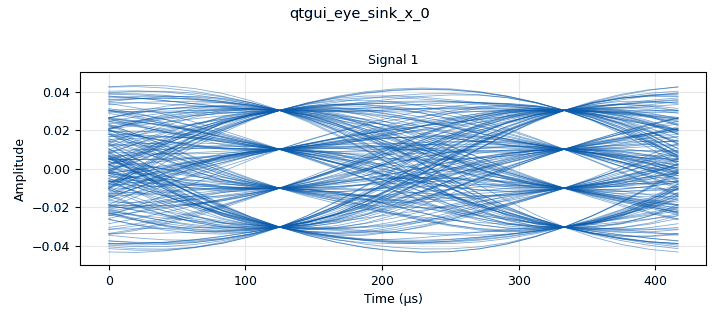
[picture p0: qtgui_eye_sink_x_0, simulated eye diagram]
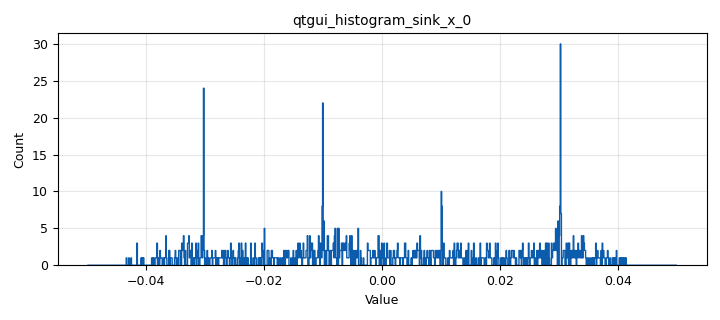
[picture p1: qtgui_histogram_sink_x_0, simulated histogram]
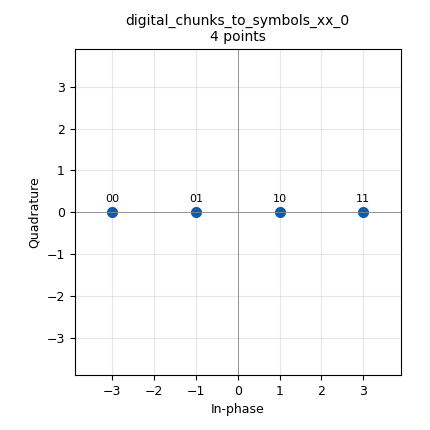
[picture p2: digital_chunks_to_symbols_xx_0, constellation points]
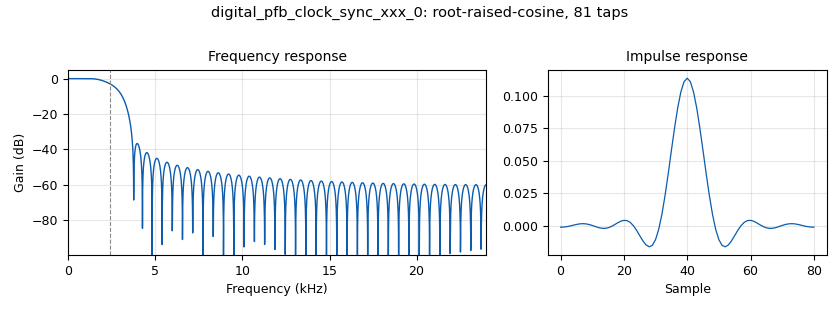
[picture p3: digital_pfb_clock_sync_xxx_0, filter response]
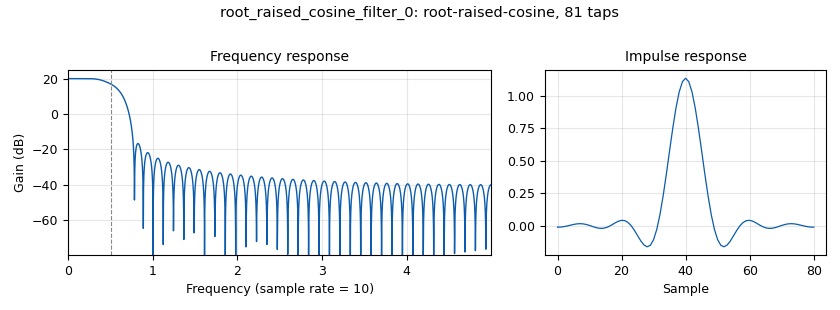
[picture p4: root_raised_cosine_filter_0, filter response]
options:
  parameters:
    author: pthrr, sp5wwp
    generate_options: qt_gui
    id: m17_channel
    output_language: python
    title: Not titled yet
  states: {}

blocks:
- name: carrier_freq
  id: variable
  parameters:
    value: '44000'
  states: {}
- name: fsk_deviation
  id: variable
  parameters:
    value: '800'
  states: {}
- name: pi
  id: variable
  parameters:
    value: '3.141592653589793238462643383279502884197 '
  states: {}
- name: rrc_length
  id: variable
  parameters:
    value: '8'
  states: {}
- name: rrc_taps
  id: variable_rrc_filter_taps
  parameters:
    alpha: '0.5'
    gain: '1.0'
    ntaps: rrc_length*10+1
    samp_rate: symbol_rate*10
    sym_rate: symbol_rate
  states: {}
- name: symbol_rate
  id: variable
  parameters:
    value: '4800'
  states: {}
- name: analog_frequency_modulator_fc_0
  id: analog_frequency_modulator_fc
  parameters:
    sensitivity: (fsk_deviation*2.0*pi)/(symbol_rate*10.0)
  states: {}
- name: analog_quadrature_demod_cf_0
  id: analog_quadrature_demod_cf
  parameters:
    gain: (symbol_rate*10.0)/(2.0*pi*fsk_deviation)
  states: {}
- name: analog_random_source_x_0
  id: analog_random_source_x
  parameters:
    max: '4'
    min: '0'
    num_samps: '65536'
    repeat: 'True'
    type: byte
  states: {}
- name: blocks_add_const_vxx_1
  id: blocks_add_const_vxx
  parameters:
    const: '-0.1'
    type: float
  states: {}
- name: blocks_null_sink_0
  id: blocks_null_sink
  parameters:
    type: float
  states: {}
- name: blocks_null_sink_0_0
  id: blocks_null_sink
  parameters:
    type: float
  states: {}
- name: blocks_sample_and_hold_xx_0
  id: blocks_sample_and_hold_xx
  parameters:
    type: float
  states: {}
- name: channels_channel_model_0
  id: channels_channel_model
  parameters:
    epsilon: '1.0'
    freq_offset: '0.0'
    noise_voltage: '0.0'
    seed: '0'
    taps: 1.0 + 1.0j
  states: {state: bypassed}
- name: digital_binary_slicer_fb_0
  id: digital_binary_slicer_fb
  parameters: {}
  states: {}
- name: digital_chunks_to_symbols_xx_0
  id: digital_chunks_to_symbols_xx
  parameters:
    dimension: '1'
    in_type: byte
    out_type: float
    symbol_table: '[-3, -1, 1, 3]'
  states: {}
- name: digital_pfb_clock_sync_xxx_0
  id: digital_pfb_clock_sync_xxx
  parameters:
    filter_size: rrc_length*10+1
    init_phase: '0'
    loop_bw: 2.0*pi/100.0
    max_dev: '1.5'
    osps: '10'
    sps: '10'
    taps: rrc_taps
    type: fff
  states: {}
- name: qtgui_eye_sink_x_0
  id: qtgui_eye_sink_x
  parameters:
    samp_per_symbol: '10'
    size: '4096'
    srate: symbol_rate*10
    type: float
    ymax: '0.05'
    ymin: '-0.05'
  states: {}
- name: qtgui_histogram_sink_x_0
  id: qtgui_histogram_sink_x
  parameters:
    accum: 'True'
    bins: '1000'
    size: '1024'
    type: float
    xmax: '0.05'
    xmin: '-0.05'
  states: {}
- name: qtgui_time_sink_x_0
  id: qtgui_time_sink_x
  parameters:
    grid: 'True'
    label1: out
    marker1: '0'
    size: '500'
    srate: '4800'
    stemplot: 'True'
    type: float
    update_time: '1'
    ymax: '0.01'
    ymin: '-0.01'
  states: {}
- name: qtgui_time_sink_x_0_0
  id: qtgui_time_sink_x
  parameters:
    grid: 'True'
    label1: out
    marker1: '0'
    size: '4800'
    srate: '48000'
    stemplot: 'True'
    type: float
    update_time: '1'
    ymax: '0.05'
    ymin: '-0.05'
  states: {state: disabled}
- name: qtgui_time_sink_x_1
  id: qtgui_time_sink_x
  parameters:
    size: '1024'
    srate: symbol_rate*10
    type: float
    ymax: '5'
    ymin: '-5'
  states: {state: disabled}
- name: qtgui_waterfall_sink_x_0
  id: qtgui_waterfall_sink_x
  parameters:
    bw: symbol_rate*10.0
    fc: '0'
    fftsize: '1024'
    type: complex
  states: {state: disabled}
- name: root_raised_cosine_filter_0
  id: root_raised_cosine_filter
  parameters:
    alpha: '0.5'
    gain: '10'
    interp: '10'
    ntaps: rrc_length*10+1
    samp_rate: '10'
    sym_rate: '1'
    type: interp_fir_filter_fff
  states: {}
- name: root_raised_cosine_filter_0_0
  id: root_raised_cosine_filter
  parameters:
    alpha: '0.5'
    gain: '10'
    interp: '1'
    ntaps: rrc_length*10+1
    samp_rate: '10'
    sym_rate: '1'
    type: interp_fir_filter_fff
  states: {}

connections:
- [analog_frequency_modulator_fc_0, '0', channels_channel_model_0, '0']
- [analog_frequency_modulator_fc_0, '0', qtgui_waterfall_sink_x_0, '0']
- [analog_quadrature_demod_cf_0, '0', qtgui_time_sink_x_1, '0']
- [analog_quadrature_demod_cf_0, '0', root_raised_cosine_filter_0_0, '0']
- [analog_random_source_x_0, '0', digital_chunks_to_symbols_xx_0, '0']
- [blocks_add_const_vxx_1, '0', digital_binary_slicer_fb_0, '0']
- [blocks_sample_and_hold_xx_0, '0', qtgui_time_sink_x_0, '0']
- [channels_channel_model_0, '0', analog_quadrature_demod_cf_0, '0']
- [digital_binary_slicer_fb_0, '0', blocks_sample_and_hold_xx_0, '1']
- [digital_chunks_to_symbols_xx_0, '0', root_raised_cosine_filter_0, '0']
- [digital_pfb_clock_sync_xxx_0, '0', blocks_sample_and_hold_xx_0, '0']
- [digital_pfb_clock_sync_xxx_0, '0', qtgui_eye_sink_x_0, '0']
- [digital_pfb_clock_sync_xxx_0, '0', qtgui_histogram_sink_x_0, '0']
- [digital_pfb_clock_sync_xxx_0, '0', qtgui_time_sink_x_0_0, '0']
- [digital_pfb_clock_sync_xxx_0, '1', blocks_null_sink_0, '0']
- [digital_pfb_clock_sync_xxx_0, '2', blocks_null_sink_0_0, '0']
- [digital_pfb_clock_sync_xxx_0, '3', blocks_add_const_vxx_1, '0']
- [root_raised_cosine_filter_0, '0', analog_frequency_modulator_fc_0, '0']
- [root_raised_cosine_filter_0_0, '0', digital_pfb_clock_sync_xxx_0, '0']

metadata:
  file_format: 1
